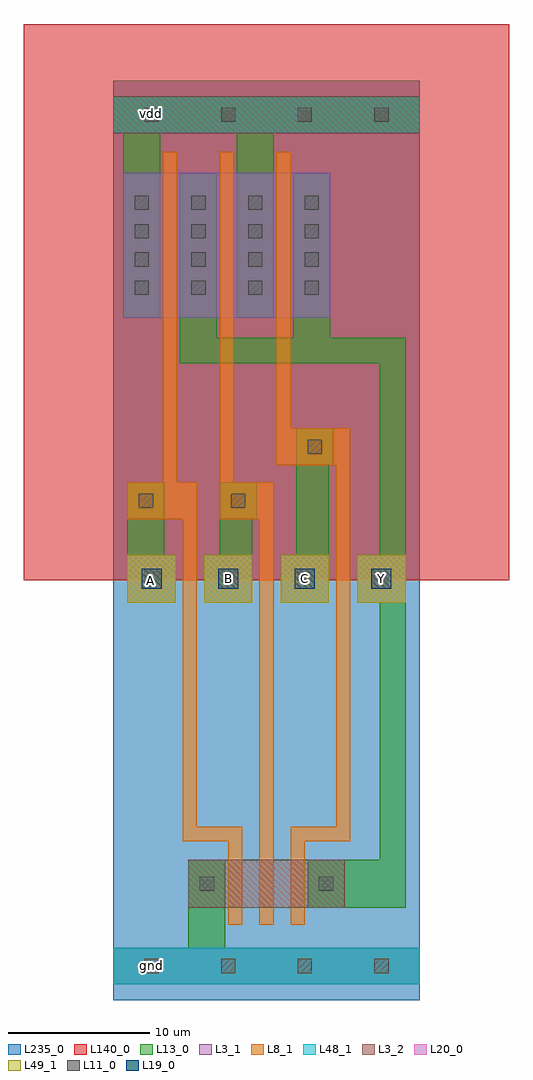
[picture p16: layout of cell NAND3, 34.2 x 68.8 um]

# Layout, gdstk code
import gdstk
lib = gdstk.Library(unit=1e-6, precision=1e-09)
def R(c, l, rs):  # rectangles x0, y0, x1, y1
    for r in rs: c.add(gdstk.rectangle(r[:2], r[2:], *l))
def A(c, l, x, y, w, h, nx, ny, dx, dy):  # array of equal rectangles
    R(c, l, [(x+i*dx, y+j*dy, x+i*dx+w, y+j*dy+h) for i in range(nx) for j in range(ny)])
def P(c, l, *ps):  # polygons
    for p in ps: c.add(gdstk.Polygon(p, *l))
L3_1 = (3, 1)
L3_2 = (3, 2)
L8_1 = (8, 1)
L11_0 = (11, 0)
L13_0 = (13, 0)
L19_0 = (19, 0)
L20_0 = (20, 0)
L48_1 = (48, 1)
L49_1 = (49, 1)
L140_0 = (140, 0)
L235_0 = (235, 0)

nand3 = lib.new_cell('NAND3')
R(nand3, L3_1, [(0,1.1,21.6,3.7), (0.7,48.1,7.3,58.3), (4.7,48.1,11.3,58.3), (11.3,48.1,15.3,58.3)])
R(nand3, L3_2, [(5.3,6.5,16.3,9.9), (0,61.1,21.6,63.7)])
P(nand3, L8_1, [(12.5,5.3),(12.5,12.2),(15.7,12.2),(15.7,37.7),(11.5,37.7),(11.5,59.8),(12.5,59.8),(12.5,40.3),(16.7,40.3),(16.7,11.2),(13.5,11.2),(13.5,5.3)],
  [(10.3,5.3),(10.3,13),(10.3,33.9),(7.5,33.9),(7.5,36.5),(7.5,59.8),(8.5,59.8),(8.5,36.5),(11.3,36.5),(11.3,12),(11.3,5.3)],
  [(8.1,5.3),(8.1,11.2),(4.9,11.2),(4.9,33.9),(1,33.9),(1,36.5),(3.5,36.5),(3.5,59.8),(4.5,59.8),(4.5,36.5),(5.9,36.5),(5.9,12.2),(9.1,12.2),(9.1,5.3)])
A(nand3, L11_0, 1.5, 49.7, 1, 1, 4, 4, 4, 2)
R(nand3, L11_0, [(2.2,1.9,3.2,2.9), (7.6,1.9,8.6,2.9), (7.6,1.9,8.6,2.9), (13,1.9,14,2.9), (13,1.9,14,2.9), (18.4,1.9,19.4,2.9), (6.1,7.7,7.1,8.7), (14.5,7.7,15.5,8.7), (1.8,34.7,2.8,35.7), (8.3,34.7,9.3,35.7), (13.7,38.5,14.7,39.5), (2.2,61.9,3.2,62.9), (2.2,61.9,3.2,62.9), (7.6,61.9,8.6,62.9), (7.6,61.9,8.6,62.9), (7.6,61.9,8.6,62.9), (7.6,61.9,8.6,62.9), (13,61.9,14,62.9), (13,61.9,14,62.9), (18.4,61.9,19.4,62.9)])
R(nand3, L13_0, [(5.3,3.7,7.9,9.9), (1,28,4.4,31.4), (1,28,4.4,31.4), (6.4,28,9.8,31.4), (6.4,28,9.8,31.4), (11.8,28,15.2,31.4), (11.8,28,15.2,31.4), (17.2,28,20.6,31.4), (1,31.4,3.6,36.5), (4.7,44.9,12.7,46.7), (4.7,44.9,7.3,58.3), (12.7,44.9,15.3,58.3), (0.7,48.1,3.3,61.1), (8.7,48.1,11.3,61.1), (0,61.1,21.6,63.7)])
P(nand3, L13_0, [(13.7,6.5),(13.7,9.9),(18.8,9.9),(18.8,28),(17.2,28),(17.2,31.4),(18.8,31.4),(18.8,44.9),(15.3,44.9),(15.3,46.7),(20.6,46.7),(20.6,6.5)],
  [(12.9,31.4),(12.9,40.3),(15.5,40.3),(15.5,37.7),(15.2,37.7),(15.2,31.4)],
  [(0,1.1),(0,3.7),(0.7,3.7),(3.3,3.7),(21.6,3.7),(21.6,1.1)],
  [(7.5,31.4),(7.5,36.5),(10.1,36.5),(10.1,33.9),(9.8,33.9),(9.8,31.4)])
A(nand3, L19_0, 2, 29, 1.4, 1.4, 4, 1, 5.4, 0)
A(nand3, L20_0, 1, 28, 3.4, 3.4, 4, 1, 5.4, 0)
R(nand3, L48_1, [(0,1.1,21.6,3.7), (0,61.1,21.6,63.7)])
A(nand3, L49_1, 1, 28, 3.4, 3.4, 4, 1, 5.4, 0)
R(nand3, L140_0, [(-6.3,29.6,27.9,68.8)])
R(nand3, L235_0, [(0,0,21.6,64.8)])
nand3.add(gdstk.Label('Y', (18.9,29.7), layer=49, texttype=0))
nand3.add(gdstk.Label('C', (13.5,29.7), layer=49, texttype=0))
nand3.add(gdstk.Label('A', (2.6,29.6), layer=49, texttype=0))
nand3.add(gdstk.Label('B', (8.1,29.7), layer=49, texttype=0))
nand3.add(gdstk.Label('gnd', (2.7,2.4), layer=48, texttype=0))
nand3.add(gdstk.Label('vdd', (2.7,62.5), layer=48, texttype=0))

lib.write_gds('NAND3.gds')
